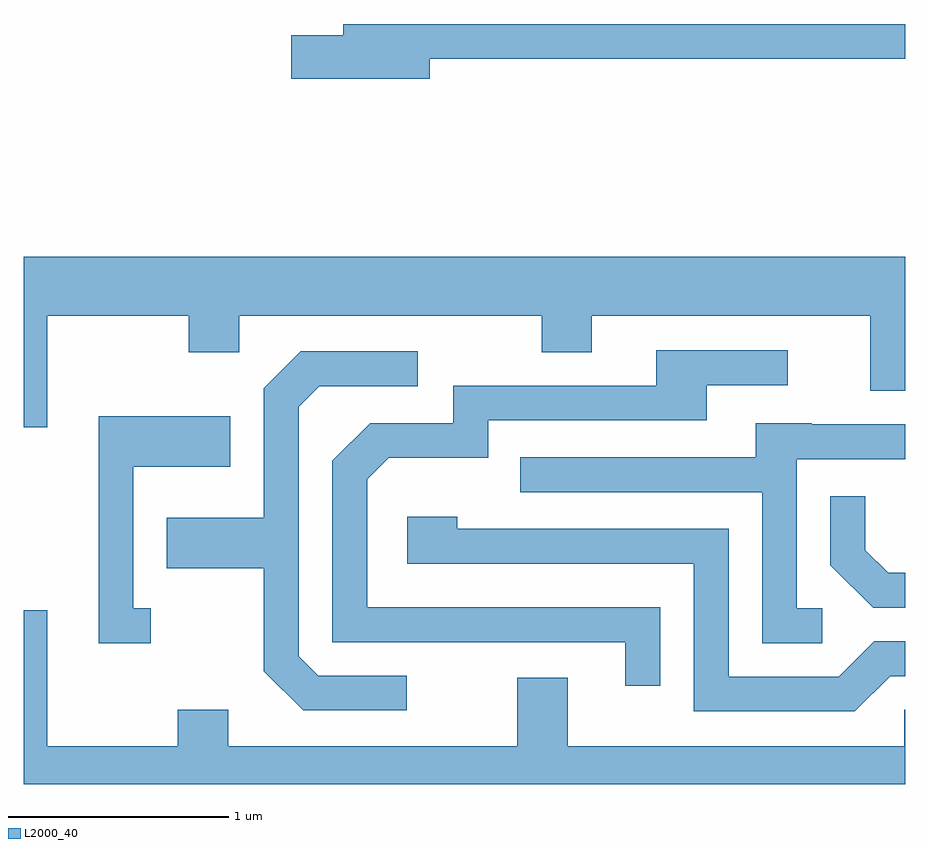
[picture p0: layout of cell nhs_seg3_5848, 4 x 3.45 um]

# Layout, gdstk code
import gdstk
lib = gdstk.Library(unit=1e-6, precision=1e-09)
def P(c, l, *ps):  # polygons
    for p in ps: c.add(gdstk.Polygon(p, *l))
L2000_40 = (2000, 40)

nhs_seg3_5848 = lib.new_cell('nhs_seg3_5848')
P(nhs_seg3_5848, L2000_40, [(359.454,1127.181),(361.611,1127.181),(361.611,1127.339),(359.061,1127.339),(359.061,1127.289),(358.826,1127.289),(358.826,1127.091),(359.454,1127.091)],
  [(357.611,1125.511),(357.719,1125.511),(357.719,1126.016),(358.361,1126.016),(358.361,1125.851),(358.589,1125.851),(358.589,1126.016),(359.961,1126.016),(359.961,1125.851),(360.189,1125.851),(360.189,1126.016),(361.451,1126.016),(361.451,1125.676),(361.611,1125.676),(361.611,1126.284),(357.611,1126.284)],
  [(360.499,1124.694),(359.169,1124.694),(359.169,1125.274),(359.267,1125.371),(359.719,1125.371),(359.719,1125.541),(360.709,1125.541),(360.709,1125.701),(361.078,1125.701),(361.078,1125.859),(360.481,1125.859),(360.481,1125.699),(359.561,1125.699),(359.561,1125.529),(359.184,1125.529),(359.011,1125.357),(359.011,1124.536),(360.341,1124.536),(360.341,1124.338),(360.499,1124.338)],
  [(359.348,1124.384),(358.947,1124.384),(358.859,1124.472),(358.859,1125.604),(358.952,1125.696),(359.398,1125.696),(359.398,1125.854),(358.869,1125.854),(358.701,1125.687),(358.701,1125.099),(358.261,1125.099),(358.261,1124.871),(358.701,1124.871),(358.701,1124.404),(358.879,1124.226),(359.348,1124.226)],
  [(358.188,1124.689),(358.109,1124.689),(358.109,1125.331),(358.549,1125.331),(358.549,1125.559),(357.951,1125.559),(357.951,1124.531),(358.188,1124.531)],
  [(361.233,1124.689),(361.119,1124.689),(361.119,1125.366),(361.611,1125.366),(361.611,1125.524),(361.185,1125.524),(361.185,1125.529),(360.931,1125.529),(360.931,1125.374),(359.863,1125.374),(359.863,1125.216),(360.961,1125.216),(360.961,1124.531),(361.233,1124.531)],
  [(361.611,1124.849),(361.532,1124.849),(361.429,1124.952),(361.429,1125.198),(361.271,1125.198),(361.271,1124.884),(361.464,1124.691),(361.611,1124.691)],
  [(361.542,1124.381),(361.611,1124.381),(361.611,1124.539),(361.469,1124.539),(361.309,1124.379),(360.809,1124.379),(360.809,1125.049),(359.579,1125.049),(359.579,1125.104),(359.351,1125.104),(359.351,1124.891),(360.651,1124.891),(360.651,1124.221),(361.382,1124.221)],
  [(358.311,1124.229),(358.311,1124.064),(357.719,1124.064),(357.719,1124.679),(357.611,1124.679),(357.611,1123.892),(361.611,1123.892),(361.611,1124.229),(361.606,1124.229),(361.606,1124.064),(360.079,1124.064),(360.079,1124.374),(359.851,1124.374),(359.851,1124.064),(358.539,1124.064),(358.539,1124.229)])

lib.write_gds('nhs_seg3_5848.gds')
